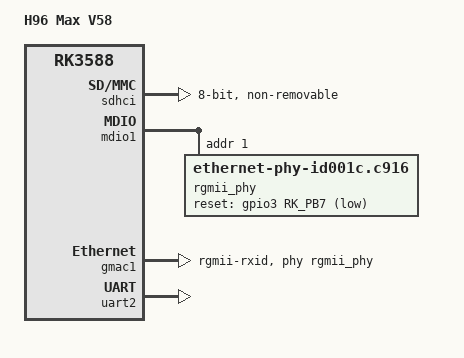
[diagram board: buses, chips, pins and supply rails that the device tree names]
// SPDX-License-Identifier: (GPL-2.0+ OR MIT)
/*
 * Minimal generic DT for RK3588S/RK3588 with eMMC, SD-card and USB OTG enabled
 */

/dts-v1/;
#include <dt-bindings/gpio/gpio.h>
#include <dt-bindings/input/input.h>
#include <dt-bindings/pinctrl/rockchip.h>
#include "rk3588.dtsi"

/ {
	model = "H96 Max V58";
	compatible = "rockchip,rk3588";

	aliases {
		ethernet0 = &gmac1;
		mmc0 = &sdhci;
	};

	chosen {
		stdout-path = "serial2:1500000n8";
	};
};

&sdhci {
	bus-width = <8>;
	cap-mmc-highspeed;
	mmc-hs200-1_8v;
	no-sd;
	no-sdio;
	non-removable;
	status = "okay";
};

&mdio1 {
	rgmii_phy: ethernet-phy@1 {
		/* RTL8211F */
		compatible = "ethernet-phy-id001c.c916",
			     "ethernet-phy-ieee802.3-c22";
		reg = <0x1>;
		pinctrl-names = "default";
		pinctrl-0 = <&rtl8211f_rst>;
		reset-assert-us = <15000>;
		reset-deassert-us = <50000>;
		reset-gpios = <&gpio3 RK_PB7 GPIO_ACTIVE_LOW>;
	};
};

&gmac1 {
	clock_in_out = "output";
	phy-handle = <&rgmii_phy>;
	phy-mode = "rgmii-rxid";
	pinctrl-0 = <&gmac1_miim
		     &gmac1_tx_bus2
		     &gmac1_rx_bus2
		     &gmac1_rgmii_clk
		     &gmac1_rgmii_bus>;
	pinctrl-names = "default";
	rx_delay = <0x00>;
	tx_delay = <0x43>; // May need to be 42 according to decompiled dts
	status = "okay";
};

&pinctrl {
	rtl8211f {
		rtl8211f_rst: rtl8211f-rst {
			rockchip,pins = <4 RK_PB3 RK_FUNC_GPIO &pcfg_pull_none>;
		};
	};
};

&uart2 {
	pinctrl-0 = <&uart2m0_xfer>;
	status = "okay";
};

